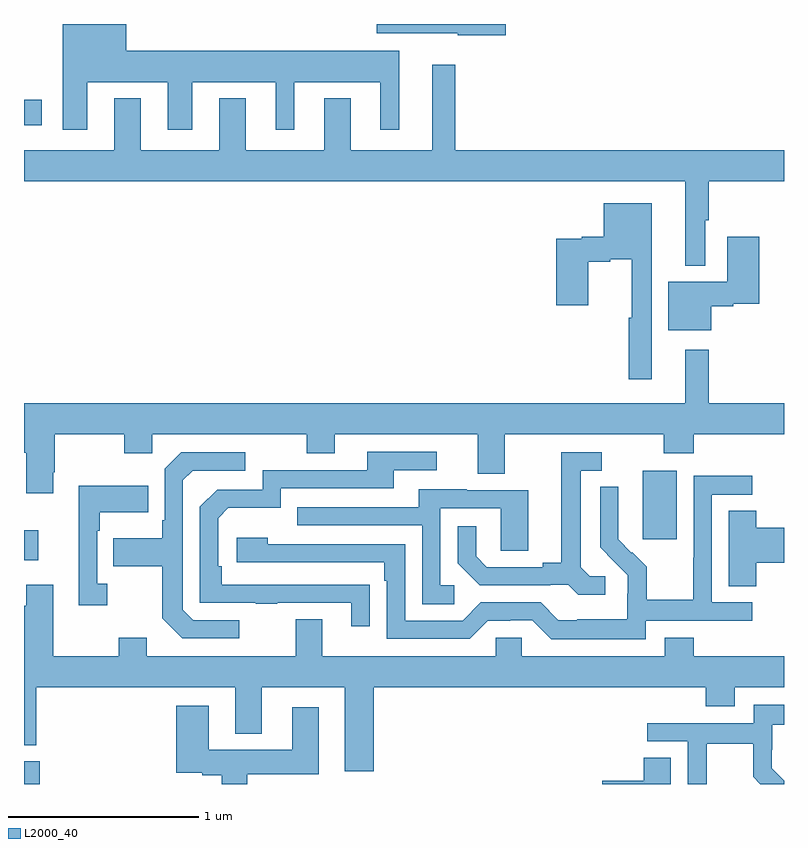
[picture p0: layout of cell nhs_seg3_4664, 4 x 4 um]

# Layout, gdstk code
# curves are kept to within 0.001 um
import gdstk
lib = gdstk.Library(unit=1e-6, precision=1e-09)
def R(c, l, rs):  # rectangles x0, y0, x1, y1
    for r in rs: c.add(gdstk.rectangle(r[:2], r[2:], *l))
def P(c, l, *ps):  # polygons
    for p in ps: c.add(gdstk.Polygon(p, *l))
L2000_40 = (2000, 40)

nhs_seg3_4664 = lib.new_cell('nhs_seg3_4664')
R(nhs_seg3_4664, L2000_40, [(361,708.4,361.082,708.519), (361,709.577,361.075,709.735), (364.256,709.689,364.435,710.05), (361,711.866,361.093,712.001)])
P(nhs_seg3_4664, L2000_40, [(361.333,712.094),(361.757,712.094),(361.757,711.843),(361.885,711.843),(361.885,712.094),(362.324,712.094),(362.324,711.843),(362.422,711.843),(362.422,712.094),(362.876,712.094),(362.876,711.843),(362.974,711.843),(362.974,712.258),(361.537,712.258),(361.537,712.4),(361.205,712.4),(361.205,711.843),(361.333,711.843)],
  [(363.535,712.4),(362.856,712.4),(362.856,712.352),(363.282,712.352),(363.282,712.34),(363.535,712.34)],
  [(364.481,711.128),(364.585,711.128),(364.585,711.367),(364.603,711.367),(364.603,711.572),(365,711.572),(365,711.736),(363.271,711.736),(363.271,712.186),(363.149,712.186),(363.149,711.736),(362.719,711.736),(362.719,712.009),(362.579,712.009),(362.579,711.736),(362.167,711.736),(362.167,712.009),(362.027,712.009),(362.027,711.736),(361.615,711.736),(361.615,712.009),(361.475,712.009),(361.475,711.736),(361,711.736),(361,711.572),(364.481,711.572)],
  [(364.303,711.457),(364.052,711.457),(364.052,711.279),(363.936,711.279),(363.936,711.271),(363.8,711.271),(363.8,710.919),(363.97,710.919),(363.97,711.149),(364.085,711.149),(364.085,711.161),(364.199,711.161),(364.199,710.853),(364.182,710.853),(364.182,710.529),(364.303,710.529)],
  [(364.618,710.915),(364.734,710.915),(364.734,710.927),(364.871,710.927),(364.871,711.28),(364.7,711.28),(364.7,711.043),(364.391,711.043),(364.391,710.789),(364.618,710.789)],
  [(361,710.24),(361.001,710.24),(361.001,710.144),(361.013,710.144),(361.013,709.929),(361.153,709.929),(361.153,710.041),(361.161,710.041),(361.161,710.24),(361.528,710.24),(361.528,710.141),(361.674,710.141),(361.674,710.24),(362.488,710.24),(362.488,710.141),(362.635,710.141),(362.635,710.24),(363.389,710.24),(363.389,710.032),(363.529,710.032),(363.529,710.24),(364.366,710.24),(364.366,710.141),(364.526,710.141),(364.526,710.24),(365,710.24),(365,710.404),(364.603,710.404),(364.603,710.686),(364.481,710.686),(364.481,710.404),(361,710.404)],
  [(362.819,709.448),(362.042,709.449),(362.042,709.546),(362.022,709.546),(362.022,709.8),(362.075,709.853),(362.352,709.853),(362.352,709.956),(362.947,709.956),(362.947,710.052),(363.172,710.052),(363.172,710.148),(362.807,710.148),(362.807,710.052),(362.256,710.052),(362.256,709.95),(362.016,709.95),(361.926,709.86),(361.926,709.353),(362.221,709.353),(362.221,709.348),(362.333,709.348),(362.333,709.353),(362.723,709.353),(362.723,709.23),(362.819,709.23)],
  [(364.06,709.494),(363.978,709.494),(363.931,709.541),(363.931,710.049),(364.042,710.049),(364.042,710.145),(363.827,710.145),(363.827,709.565),(363.731,709.565),(363.731,709.542),(363.436,709.542),(363.379,709.599),(363.379,709.756),(363.282,709.756),(363.282,709.562),(363.398,709.446),(363.77,709.446),(363.77,709.449),(363.864,709.449),(363.916,709.397),(364.06,709.397)],
  [(362.134,709.263),(361.89,709.263),(361.836,709.317),(361.836,709.998),(361.887,710.049),(362.164,710.049),(362.164,710.145),(361.827,710.145),(361.74,710.058),(361.74,709.789),(361.728,709.789),(361.728,709.693),(361.471,709.693),(361.471,709.546),(361.728,709.546),(361.728,709.273),(361.833,709.167),(362.134,709.167)],
  [(364.272,709.26),(364.834,709.26),(364.834,709.356),(364.62,709.356),(364.62,709.923),(364.834,709.923),(364.834,710.022),(364.524,710.022),(364.524,709.592),(364.522,709.592),(364.522,709.369),(364.277,709.369),(364.277,709.543),(364.2,709.62),(364.197,709.617),(364.127,709.688),(364.128,709.964),(364.032,709.964),(364.032,709.646),(364.178,709.498),(364.178,709.401),(364.176,709.401),(364.176,709.267),(363.913,709.267),(363.913,709.263),(363.813,709.263),(363.72,709.356),(363.405,709.356),(363.309,709.26),(363.006,709.26),(363.006,709.662),(362.282,709.662),(362.282,709.696),(362.121,709.696),(362.121,709.566),(362.897,709.566),(362.897,709.469),(362.91,709.469),(362.91,709.164),(363.345,709.164),(363.441,709.26),(363.56,709.26),(363.56,709.263),(363.675,709.263),(363.775,709.163),(364.272,709.163)],
  [(361.438,709.454),(361.386,709.454),(361.386,709.733),(361.399,709.733),(361.399,709.829),(361.655,709.829),(361.655,709.969),(361.289,709.969),(361.289,709.341),(361.438,709.341)],
  [(363.265,709.446),(363.192,709.446),(363.192,709.851),(363.51,709.851),(363.51,709.627),(363.655,709.627),(363.655,709.947),(363.331,709.947),(363.331,709.951),(363.077,709.951),(363.077,709.857),(362.437,709.857),(362.437,709.761),(363.096,709.761),(363.096,709.345),(363.265,709.345)],
  [(364.853,709.565),(365,709.565),(365,709.748),(364.853,709.748),(364.853,709.838),(364.709,709.838),(364.709,709.441),(364.853,709.441)],
  [(362.84,708.908),(364.589,708.908),(364.589,708.809),(364.741,708.809),(364.741,708.908),(365,708.908),(365,709.072),(364.526,709.072),(364.526,709.171),(364.373,709.171),(364.373,709.072),(363.621,709.072),(363.621,709.17),(363.483,709.17),(363.483,709.072),(362.569,709.072),(362.569,709.267),(362.429,709.267),(362.429,709.072),(361.645,709.072),(361.645,709.171),(361.498,709.171),(361.498,709.072),(361.153,709.072),(361.153,709.45),(361.013,709.45),(361.013,709.337),(361.001,709.337),(361.001,709.072),(361,709.072),(361,708.604),(361.064,708.604),(361.064,708.908),(362.111,708.908),(362.111,708.665),(362.251,708.665),(362.251,708.908),(362.687,708.908),(362.687,708.467),(362.84,708.467)],
  [(364.593,708.612),(364.837,708.612),(364.837,708.437),(364.874,708.4),(365,708.4),(365,708.418),(364.936,708.482),(364.936,708.579),(364.938,708.579),(364.938,708.713),(365,708.713),(365,708.817),(364.842,708.817),(364.842,708.72),(364.281,708.72),(364.281,708.624),(364.494,708.624),(364.494,708.4),(364.593,708.4)],
  [(362.176,708.452),(362.551,708.452),(362.551,708.805),(362.411,708.805),(362.411,708.58),(361.972,708.58),(361.972,708.811),(361.802,708.811),(361.802,708.458),(361.938,708.458),(361.938,708.446),(362.042,708.446),(362.042,708.4),(362.176,708.4)],
  [(364.405,708.539),(364.262,708.539),(364.262,708.416),(364.044,708.416),(364.044,708.4),(364.405,708.4)])

lib.write_gds('nhs_seg3_4664.gds')
